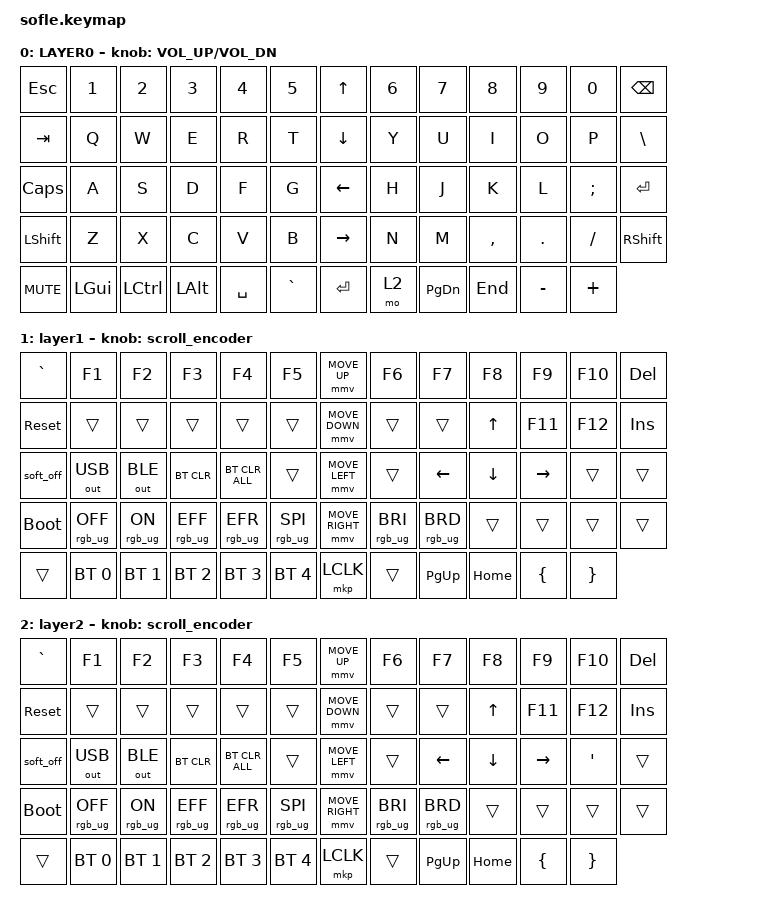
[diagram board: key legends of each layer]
#include <behaviors/mouse_keys.dtsi>
#include <behaviors.dtsi>
#include <dt-bindings/zmk/bt.h>
#include <dt-bindings/zmk/keys.h>
#include <dt-bindings/zmk/mouse.h>
#include <dt-bindings/zmk/outputs.h>
#include <dt-bindings/zmk/rgb.h>

#define ZMK_MOUSE_DEFAULT_MOVE_VAL 1200  // 600
#define ZMK_MOUSE_DEFAULT_SCRL_VAL 20    // 10
#define U_MS_U &mmv MOVE_UP
#define U_MS_D &mmv MOVE_DOWN
#define U_MS_L &mmv MOVE_LEFT
#define U_MS_R &mmv MOVE_RIGHT
#define ZMK_MOUSE_DEFAULT_MOVE_VAL 1200  //  600
#define ZMK_MOUSE_DEFAULT_SCRL_VAL 20    // 10

/ {
    behaviors {
        mmv {
            acceleration-exponent = <1>;      // 1
            time-to-max-speed-ms = <900>;    // 40
            delay-ms = <0>;                   // 0
        };

        msc {
            acceleration-exponent = <1>;      // 0
            time-to-max-speed-ms = <400>;      // 500
            delay-ms = <0>;                   //   10
        };
    };

    scroll_encoder: scroll_encoder {
        compatible = "zmk,behavior-sensor-rotate";
        #sensor-binding-cells = <0>;
        bindings = <&msc SCRL_DOWN>, <&msc SCRL_UP>;

        tap-ms = <30>;
    };

    keymap {
        compatible = "zmk,keymap";

        layer0 {
            bindings = <
&kp ESC     &kp N1        &kp N2     &kp N3        &kp N4     &kp N5    &kp UP_ARROW     &kp N6     &kp N7         &kp N8     &kp N9           &kp N0      &kp BACKSPACE
&kp TAB     &kp Q         &kp W      &kp E         &kp R      &kp T     &kp DOWN_ARROW   &kp Y      &kp U          &kp I      &kp O            &kp P       &kp BSLH
&kp CAPS    &kp A         &kp S      &kp D         &kp F      &kp G     &kp LEFT_ARROW   &kp H      &kp J          &kp K      &kp L            &kp SEMI    &kp ENTER
&kp LSHFT   &kp Z         &kp X      &kp C         &kp V      &kp B     &kp RIGHT_ARROW  &kp N      &kp M          &kp COMMA  &kp DOT          &kp FSLH    &kp RSHFT
&kp C_MUTE  &kp LEFT_GUI  &kp LCTRL  &kp LEFT_ALT  &kp SPACE  &kp GRAVE &kp ENTER        &mo 2      &kp PAGE_DOWN  &kp END    &kp MINUS        &kp PLUS
            >;

            sensor-bindings = <&inc_dec_kp C_VOLUME_UP C_VOL_DN>;
            display-name = "LAYER0";
        };

        layer_1 {
            bindings = <
&kp GRAVE    &kp F1           &kp F2          &kp F3           &kp F4           &kp F5          &mmv MOVE_UP     &kp F6           &kp F7            &kp F8      &kp F9     &kp F10      &kp DELETE
&sys_reset   &trans           &trans          &trans           &trans           &trans          &mmv MOVE_DOWN   &trans           &trans            &kp UP      &kp F11    &kp F12      &kp INSERT 
&soft_off    &out OUT_USB     &out OUT_BLE    &bt BT_CLR       &bt BT_CLR_ALL   &trans          &mmv MOVE_LEFT   &trans           &kp LEFT          &kp DOWN    &kp RIGHT  &trans       &trans
&bootloader  &rgb_ug RGB_OFF  &rgb_ug RGB_ON  &rgb_ug RGB_EFF  &rgb_ug RGB_EFR  &rgb_ug RGB_SPI &mmv MOVE_RIGHT  &rgb_ug RGB_BRI  &rgb_ug RGB_BRD   &trans      &trans     &trans       &trans
&trans       &bt BT_SEL 0     &bt BT_SEL 1    &bt BT_SEL 2     &bt BT_SEL 3     &bt BT_SEL 4    &mkp LCLK        &trans           &kp PAGE_UP       &kp HOME    &kp LBRC   &kp RBRC
            >;

            display-name = "layer1";
            sensor-bindings = <&scroll_encoder>;
        };

        layer_2 {
            bindings = <
&kp GRAVE    &kp F1           &kp F2          &kp F3           &kp F4           &kp F5          &mmv MOVE_UP     &kp F6           &kp F7            &kp F8      &kp F9     &kp F10      &kp DELETE
&sys_reset   &trans           &trans          &trans           &trans           &trans          &mmv MOVE_DOWN   &trans           &trans            &kp UP      &kp F11    &kp F12      &kp INSERT 
&soft_off    &out OUT_USB     &out OUT_BLE    &bt BT_CLR       &bt BT_CLR_ALL   &trans          &mmv MOVE_LEFT   &trans           &kp LEFT          &kp DOWN    &kp RIGHT  &kp APOS     &trans
&bootloader  &rgb_ug RGB_OFF  &rgb_ug RGB_ON  &rgb_ug RGB_EFF  &rgb_ug RGB_EFR  &rgb_ug RGB_SPI &mmv MOVE_RIGHT  &rgb_ug RGB_BRI  &rgb_ug RGB_BRD   &trans      &trans     &trans       &trans
&trans       &bt BT_SEL 0     &bt BT_SEL 1    &bt BT_SEL 2     &bt BT_SEL 3     &bt BT_SEL 4    &mkp LCLK        &trans           &kp PAGE_UP       &kp HOME    &kp LBRC   &kp RBRC
            >;

            display-name = "layer2";
            sensor-bindings = <&scroll_encoder>;
        };
    };
};
